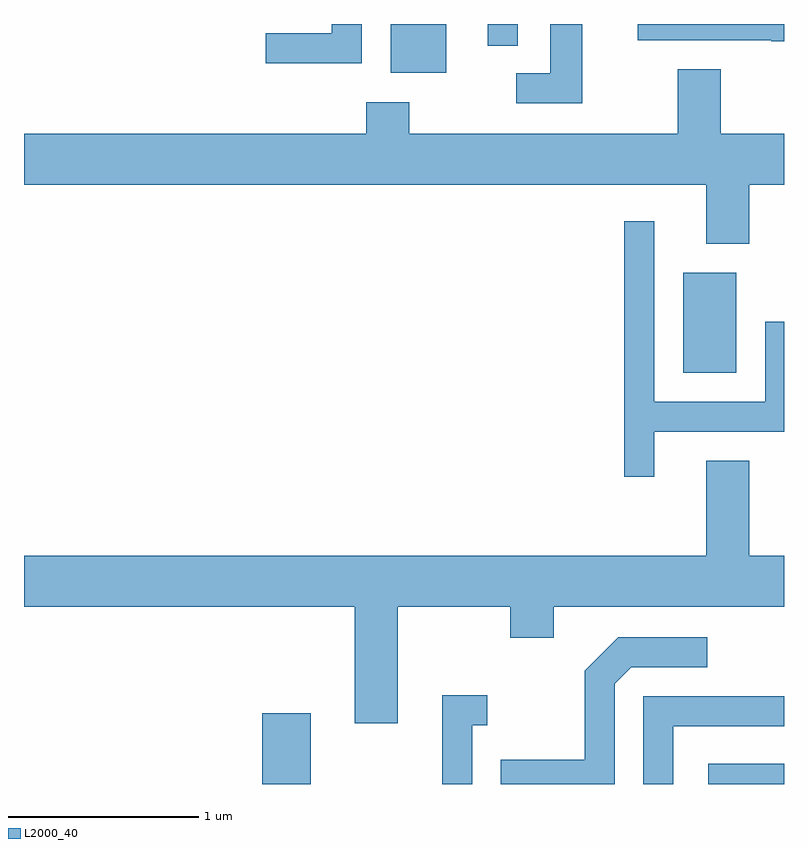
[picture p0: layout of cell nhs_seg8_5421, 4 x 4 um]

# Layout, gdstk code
import gdstk
lib = gdstk.Library(unit=1e-6, precision=1e-09)
def R(c, l, rs):  # rectangles x0, y0, x1, y1
    for r in rs: c.add(gdstk.rectangle(r[:2], r[2:], *l))
def P(c, l, *ps):  # polygons
    for p in ps: c.add(gdstk.Polygon(p, *l))
L2000_40 = (2000, 40)

nhs_seg8_5421 = lib.new_cell('nhs_seg8_5421')
R(nhs_seg8_5421, L2000_40, [(348.866,1864.342,349.119,1864.714), (351.211,1864.342,351.611,1864.449), (351.081,1866.506,351.359,1867.034), (349.541,1868.086,349.834,1868.342), (350.051,1868.228,350.209,1868.342)])
P(nhs_seg8_5421, L2000_40, [(349.389,1868.342),(349.231,1868.342),(349.231,1868.294),(348.883,1868.294),(348.883,1868.136),(349.389,1868.136)],
  [(350.549,1868.342),(350.381,1868.342),(350.381,1868.084),(350.203,1868.084),(350.203,1867.926),(350.549,1867.926)],
  [(351.611,1868.342),(350.841,1868.342),(350.841,1868.256),(351.545,1868.256),(351.545,1868.251),(351.611,1868.251)],
  [(351.429,1867.496),(351.611,1867.496),(351.611,1867.764),(351.279,1867.764),(351.279,1868.104),(351.051,1868.104),(351.051,1867.764),(349.639,1867.764),(349.639,1867.929),(349.411,1867.929),(349.411,1867.764),(347.611,1867.764),(347.611,1867.496),(351.201,1867.496),(351.201,1867.186),(351.429,1867.186)],
  [(350.929,1866.196),(351.611,1866.196),(351.611,1866.774),(351.511,1866.774),(351.511,1866.354),(350.929,1866.354),(350.929,1867.303),(350.771,1867.303),(350.771,1865.958),(350.929,1865.958)],
  [(349.579,1865.276),(350.171,1865.276),(350.171,1865.111),(350.399,1865.111),(350.399,1865.276),(351.611,1865.276),(351.611,1865.544),(351.429,1865.544),(351.429,1866.044),(351.201,1866.044),(351.201,1865.544),(347.611,1865.544),(347.611,1865.276),(349.351,1865.276),(349.351,1864.661),(349.579,1864.661)],
  [(350.719,1864.869),(350.807,1864.956),(351.208,1864.956),(351.208,1865.114),(350.739,1865.114),(350.561,1864.937),(350.561,1864.469),(350.121,1864.469),(350.121,1864.342),(350.719,1864.342)],
  [(349.969,1864.651),(350.048,1864.651),(350.048,1864.809),(349.811,1864.809),(349.811,1864.342),(349.969,1864.342)],
  [(351.029,1864.646),(351.611,1864.646),(351.611,1864.804),(350.871,1864.804),(350.871,1864.342),(351.029,1864.342)])

lib.write_gds('nhs_seg8_5421.gds')
